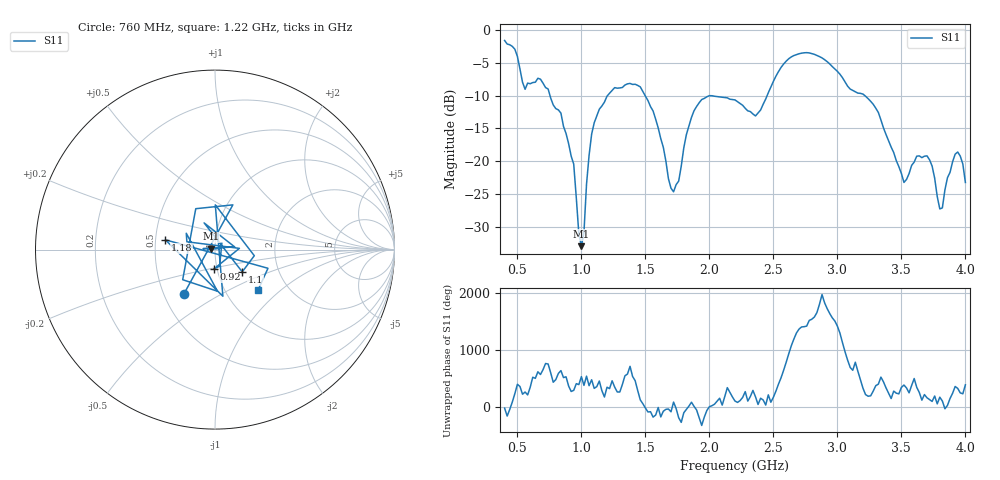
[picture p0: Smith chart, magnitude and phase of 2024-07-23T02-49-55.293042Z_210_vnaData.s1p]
!Created with skrf (http://scikit-rf.org).
# Hz S RI R 50.0
!freq ReS11 ImS11
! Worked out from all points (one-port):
!   181 points, 400 MHz to 4 GHz, reference 50 ohm
!   lowest |S11| = -33.0 dB at 1 GHz (marker M1), VSWR 1.05, Z = 47.9 + j0.469 ohm
!   |S11| at or under -10 dB: 754.7 MHz to 1.204 GHz (449.3 MHz wide, 45.9 % of centre); 1.498 GHz to 2.451 GHz (953.1 MHz wide, 48.3 % of centre); 3.214 GHz to end of sweep
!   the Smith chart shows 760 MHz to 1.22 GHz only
!   S11 on the Smith chart (normalised r, x): 760 MHz: 0.63, -0.34; 920 MHz: 0.96, -0.21; 1.1 GHz: 1.31, -0.34; 1.18 GHz: 0.56, +0.07; 1.22 GHz: 1.41, -0.72
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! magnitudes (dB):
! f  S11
! 400 MHz  -1.6
! 560 MHz  -9.0
! 760 MHz  -10.4
! 860 MHz  -14.7
! 920 MHz  -19.2
! 1 GHz  -33.0
! 1.06 GHz  -19.1
! 1.1 GHz  -14.2
! 1.18 GHz  -11.0
! 1.22 GHz  -9.6
! 1.3 GHz  -8.8
! 1.46 GHz  -8.7
! 1.58 GHz  -13.6
! 1.7 GHz  -24.1
! 1.76 GHz  -23.1
! 1.82 GHz  -16.0
! 1.92 GHz  -11.1
! 2.2 GHz  -10.7
! 2.36 GHz  -13.1
! 2.66 GHz  -3.9
! 3.1 GHz  -9.0
! 3.28 GHz  -11.3
! 3.52 GHz  -23.3
! 3.56 GHz  -21.9
! 3.7 GHz  -19.2
! 3.8 GHz  -27.3
! 3.92 GHz  -18.9
! 4 GHz  -23.3
